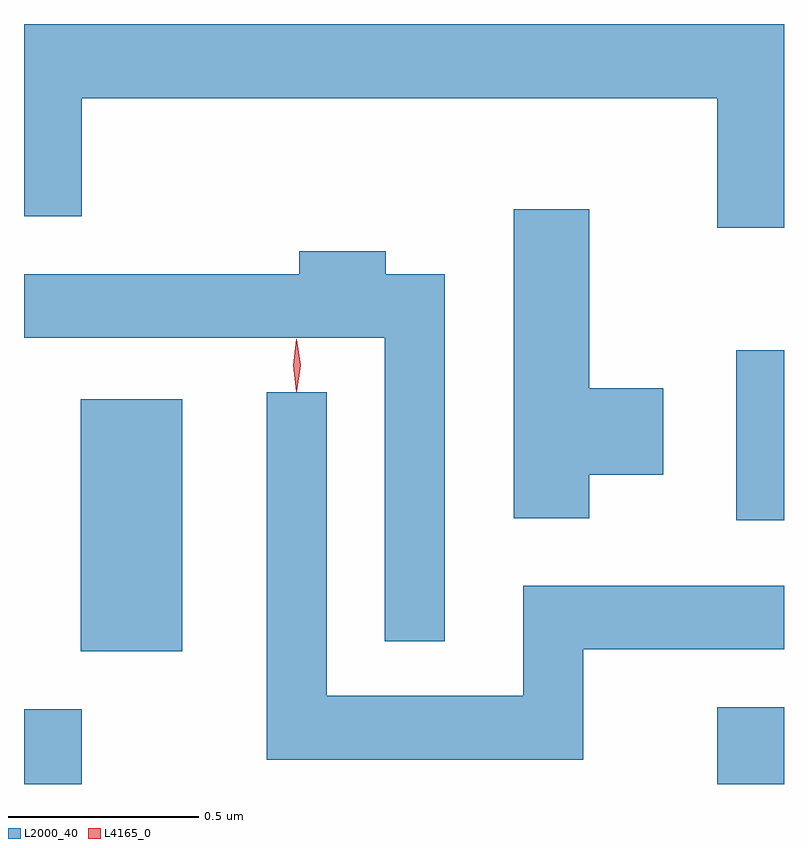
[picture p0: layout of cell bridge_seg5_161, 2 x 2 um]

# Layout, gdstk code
import gdstk
lib = gdstk.Library(unit=1e-6, precision=1e-09)
def R(c, l, rs):  # rectangles x0, y0, x1, y1
    for r in rs: c.add(gdstk.rectangle(r[:2], r[2:], *l))
def P(c, l, *ps):  # polygons
    for p in ps: c.add(gdstk.Polygon(p, *l))
L2000_40 = (2000, 40)
L4165_0 = (4165, 0)

bridge_seg5_161 = lib.new_cell('bridge_seg5_161')
R(bridge_seg5_161, L2000_40, [(1170.827,1412.812,1170.979,1413.009), (1172.651,1412.812,1172.827,1413.014), (1170.976,1413.161,1171.244,1413.824), (1172.701,1413.506,1172.827,1413.954)])
P(bridge_seg5_161, L2000_40, [(1170.827,1414.306),(1170.979,1414.306),(1170.979,1414.616),(1172.651,1414.616),(1172.651,1414.276),(1172.827,1414.276),(1172.827,1414.812),(1170.827,1414.812)],
  [(1172.314,1413.626),(1172.509,1413.626),(1172.509,1413.854),(1172.314,1413.854),(1172.314,1414.324),(1172.116,1414.324),(1172.116,1413.511),(1172.314,1413.511)],
  [(1171.934,1414.154),(1171.779,1414.154),(1171.779,1414.214),(1171.551,1414.214),(1171.551,1414.154),(1170.827,1414.154),(1170.827,1413.986),(1171.776,1413.986),(1171.776,1413.188),(1171.934,1413.188)],
  [(1172.299,1413.166),(1172.827,1413.166),(1172.827,1413.334),(1172.141,1413.334),(1172.141,1413.044),(1171.624,1413.044),(1171.624,1413.843),(1171.466,1413.843),(1171.466,1412.876),(1172.299,1412.876)])
P(bridge_seg5_161, L4165_0, [(1171.545,1413.847),(1171.544,1413.848),(1171.535,1413.914),(1171.544,1413.98),(1171.545,1413.98),(1171.545,1413.98),(1171.555,1413.914),(1171.545,1413.848)],
  [(1171.544,1413.844),(1171.535,1413.914),(1171.544,1413.982),(1171.545,1413.983),(1171.545,1413.982),(1171.555,1413.914),(1171.545,1413.844),(1171.545,1413.844)])

lib.write_gds('bridge_seg5_161.gds')
